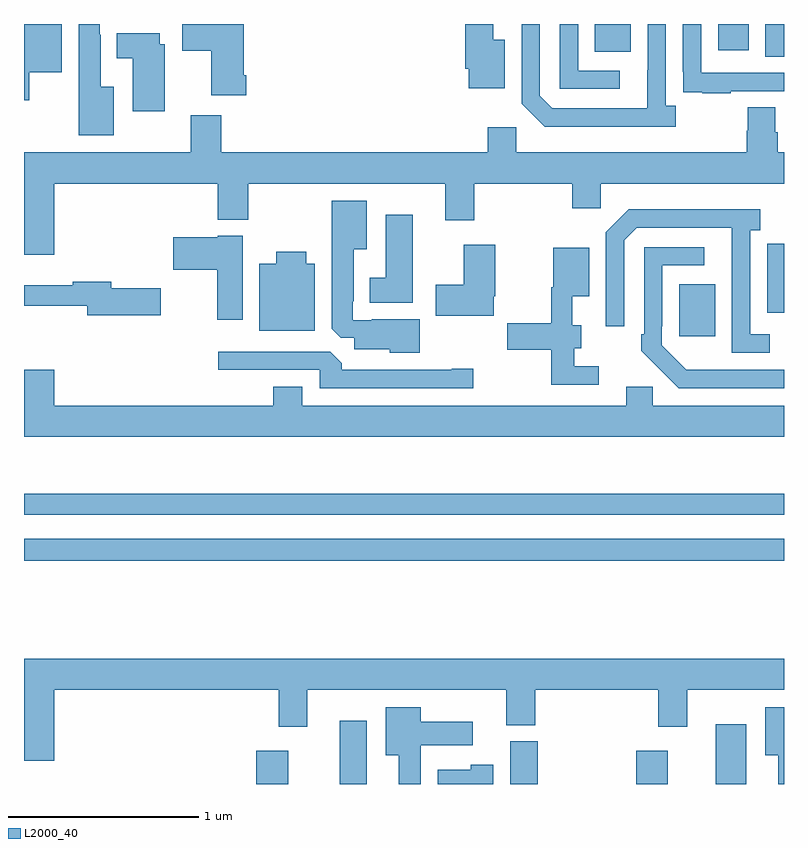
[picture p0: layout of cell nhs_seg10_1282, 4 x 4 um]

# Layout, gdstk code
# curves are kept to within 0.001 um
import gdstk
lib = gdstk.Library(unit=1e-6, precision=1e-09)
def R(c, l, rs):  # rectangles x0, y0, x1, y1
    for r in rs: c.add(gdstk.rectangle(r[:2], r[2:], *l))
def P(c, l, *ps):  # polygons
    for p in ps: c.add(gdstk.Polygon(p, *l))
L2000_40 = (2000, 40)

nhs_seg10_1282 = lib.new_cell('nhs_seg10_1282')
R(nhs_seg10_1282, L2000_40, [(178.223,1286.5,178.39,1286.674), (178.661,1286.5,178.804,1286.833), (179.558,1286.5,179.705,1286.724), (180.222,1286.5,180.388,1286.674), (180.641,1286.5,180.802,1286.815), (177,1287.676,181,1287.792), (177,1287.918,181,1288.027), (180.449,1288.857,180.637,1289.131), (180.902,1290.328,181,1290.5), (180.005,1290.353,180.193,1290.5), (180.653,1290.363,180.814,1290.5)])
P(nhs_seg10_1282, L2000_40, [(177.028,1290.245),(177.199,1290.245),(177.199,1290.5),(177,1290.5),(177,1290.099),(177.028,1290.099)],
  [(177.472,1290.169),(177.403,1290.169),(177.403,1290.443),(177.399,1290.443),(177.399,1290.5),(177.287,1290.5),(177.287,1289.915),(177.472,1289.915)],
  [(180.136,1290.255),(179.916,1290.255),(179.916,1290.5),(179.82,1290.5),(179.82,1290.159),(180.136,1290.159)],
  [(180.719,1290.147),(181,1290.147),(181,1290.243),(180.564,1290.243),(180.564,1290.5),(180.468,1290.5),(180.468,1290.25),(180.469,1290.25),(180.469,1290.141),(180.571,1290.141),(180.571,1290.135),(180.719,1290.135)],
  [(180.43,1290.07),(180.378,1290.07),(180.378,1290.5),(180.282,1290.5),(180.281,1290.057),(179.781,1290.057),(179.715,1290.123),(179.715,1290.5),(179.619,1290.5),(179.619,1290.081),(179.74,1289.96),(180.43,1289.96)],
  [(178.169,1290.229),(178.156,1290.229),(178.156,1290.5),(177.834,1290.5),(177.834,1290.358),(177.986,1290.358),(177.986,1290.125),(178.169,1290.125)],
  [(179.53,1290.418),(179.47,1290.418),(179.47,1290.5),(179.323,1290.5),(179.323,1290.265),(179.342,1290.265),(179.342,1290.161),(179.53,1290.161)],
  [(177.742,1290.393),(177.715,1290.393),(177.715,1290.451),(177.488,1290.451),(177.488,1290.32),(177.572,1290.32),(177.572,1290.041),(177.742,1290.041)],
  [(177.16,1289.66),(178.019,1289.66),(178.019,1289.471),(178.179,1289.471),(178.179,1289.66),(179.216,1289.66),(179.216,1289.466),(179.369,1289.466),(179.369,1289.66),(179.885,1289.66),(179.885,1289.529),(180.036,1289.529),(180.036,1289.66),(181,1289.66),(181,1289.824),(180.968,1289.824),(180.968,1289.93),(180.955,1289.93),(180.955,1290.062),(180.808,1290.062),(180.808,1289.937),(180.803,1289.937),(180.803,1289.824),(179.592,1289.824),(179.592,1289.956),(179.441,1289.956),(179.441,1289.824),(178.037,1289.824),(178.037,1290.019),(177.877,1290.019),(177.877,1289.824),(177,1289.824),(177,1289.286),(177.16,1289.286)],
  [(179.083,1288.945),(178.831,1288.945),(178.831,1288.941),(178.731,1288.941),(178.731,1289.041),(178.735,1289.041),(178.735,1289.315),(178.804,1289.315),(178.804,1289.569),(178.619,1289.569),(178.619,1288.897),(178.668,1288.848),(178.739,1288.848),(178.739,1288.787),(178.926,1288.787),(178.926,1288.769),(179.083,1288.769)],
  [(180.925,1288.866),(180.822,1288.866),(180.822,1289.414),(180.874,1289.414),(180.874,1289.524),(180.184,1289.524),(180.063,1289.403),(180.063,1288.908),(180.159,1288.908),(180.159,1289.361),(180.225,1289.427),(180.725,1289.427),(180.726,1288.77),(180.925,1288.77)],
  [(179.047,1289.497),(178.904,1289.497),(178.904,1289.164),(178.82,1289.164),(178.82,1289.033),(179.047,1289.033)],
  [(178.15,1289.386),(178.02,1289.386),(178.02,1289.377),(177.786,1289.377),(177.786,1289.207),(178.016,1289.207),(178.016,1288.944),(178.15,1288.944)],
  [(181,1289.343),(180.913,1289.343),(180.913,1289.234),(180.912,1289.234),(180.912,1288.98),(181,1288.98)],
  [(179.472,1289.068),(179.481,1289.068),(179.481,1289.338),(179.315,1289.338),(179.315,1289.127),(179.166,1289.127),(179.166,1288.965),(179.472,1288.965)],
  [(181,1288.68),(180.486,1288.681),(180.357,1288.809),(180.357,1288.909),(180.36,1288.909),(180.36,1289.229),(180.58,1289.229),(180.58,1289.325),(180.264,1289.325),(180.264,1288.867),(180.249,1288.867),(180.249,1288.779),(180.446,1288.584),(181,1288.584)],
  [(180.025,1288.698),(179.896,1288.698),(179.896,1288.793),(179.932,1288.793),(179.932,1288.915),(179.885,1288.915),(179.885,1289.066),(179.974,1289.066),(179.974,1289.323),(179.786,1289.323),(179.786,1289.115),(179.775,1289.115),(179.775,1288.926),(179.544,1288.926),(179.544,1288.786),(179.775,1288.786),(179.775,1288.602),(180.025,1288.602)],
  [(178.531,1289.239),(178.486,1289.239),(178.486,1289.302),(178.328,1289.302),(178.328,1289.239),(178.238,1289.239),(178.238,1288.886),(178.531,1288.886)],
  [(177.721,1289.108),(177.46,1289.108),(177.46,1289.144),(177.256,1289.144),(177.256,1289.125),(177,1289.125),(177,1289.016),(177.332,1289.016),(177.332,1288.966),(177.721,1288.966)],
  [(179.365,1288.685),(179.252,1288.685),(179.252,1288.68),(178.673,1288.68),(178.673,1288.714),(178.611,1288.776),(178.023,1288.776),(178.023,1288.68),(178.557,1288.68),(178.557,1288.584),(179.365,1288.584)],
  [(181,1288.492),(180.309,1288.492),(180.309,1288.59),(180.17,1288.59),(180.17,1288.492),(178.465,1288.492),(178.465,1288.591),(178.313,1288.591),(178.313,1288.492),(177.16,1288.492),(177.16,1288.681),(177,1288.681),(177,1288.328),(181,1288.328)],
  [(177.16,1286.996),(178.34,1286.996),(178.34,1286.802),(178.492,1286.802),(178.492,1286.996),(179.537,1286.996),(179.537,1286.809),(179.69,1286.809),(179.69,1286.996),(180.338,1286.996),(180.338,1286.802),(180.49,1286.802),(180.49,1286.996),(181,1286.996),(181,1287.16),(177,1287.16),(177,1286.622),(177.16,1286.622)],
  [(179.089,1286.705),(179.362,1286.705),(179.362,1286.827),(179.089,1286.827),(179.089,1286.905),(178.904,1286.905),(178.904,1286.651),(178.973,1286.651),(178.973,1286.5),(179.089,1286.5)],
  [(181,1286.905),(180.902,1286.905),(180.902,1286.651),(180.971,1286.651),(180.971,1286.5),(181,1286.5)],
  [(179.47,1286.602),(179.352,1286.602),(179.352,1286.575),(179.177,1286.575),(179.177,1286.5),(179.47,1286.5)])

lib.write_gds('nhs_seg10_1282.gds')
